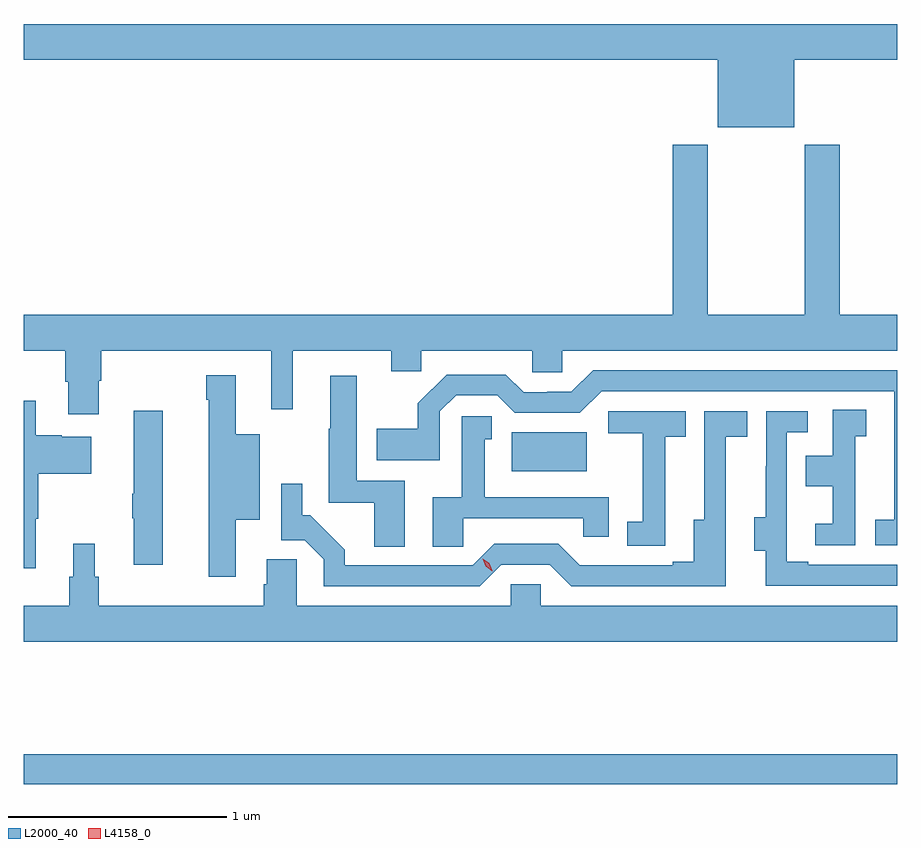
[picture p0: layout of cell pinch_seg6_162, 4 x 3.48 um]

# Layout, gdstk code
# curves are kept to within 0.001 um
import gdstk
lib = gdstk.Library(unit=1e-6, precision=1e-09)
def R(c, l, rs):  # rectangles x0, y0, x1, y1
    for r in rs: c.add(gdstk.rectangle(r[:2], r[2:], *l))
def P(c, l, *ps):  # polygons
    for p in ps: c.add(gdstk.Polygon(p, *l))
L2000_40 = (2000, 40)
L4158_0 = (4158, 0)

pinch_seg6_162 = lib.new_cell('pinch_seg6_162')
R(pinch_seg6_162, L2000_40, [(1071.273,952.012,1075.273,952.148), (1073.507,953.444,1073.851,953.623)])
P(pinch_seg6_162, L2000_40, [(1074.802,955.328),(1075.273,955.328),(1075.273,955.492),(1071.273,955.492),(1071.273,955.328),(1074.452,955.328),(1074.452,955.019),(1074.802,955.019)],
  [(1071.273,953.996),(1071.464,953.996),(1071.464,953.854),(1071.476,953.854),(1071.476,953.706),(1071.616,953.706),(1071.616,953.859),(1071.629,953.859),(1071.629,953.996),(1072.406,953.996),(1072.406,953.727),(1072.504,953.727),(1072.504,953.996),(1072.955,953.996),(1072.955,953.903),(1073.094,953.903),(1073.094,953.996),(1073.601,953.996),(1073.601,953.898),(1073.739,953.898),(1073.739,953.996),(1075.273,953.996),(1075.273,954.16),(1075.01,954.16),(1075.01,954.94),(1074.85,954.94),(1074.85,954.16),(1074.405,954.16),(1074.405,954.94),(1074.245,954.94),(1074.245,954.16),(1071.273,954.16)],
  [(1075.273,953.907),(1073.88,953.907),(1073.781,953.808),(1073.67,953.808),(1073.67,953.805),(1073.562,953.805),(1073.48,953.887),(1073.209,953.887),(1073.077,953.755),(1073.077,953.638),(1072.89,953.638),(1072.89,953.495),(1073.178,953.495),(1073.178,953.718),(1073.253,953.793),(1073.441,953.793),(1073.522,953.712),(1073.82,953.712),(1073.919,953.811),(1075.26,953.811),(1075.259,953.222),(1075.173,953.222),(1075.173,953.106),(1075.273,953.106)],
  [(1072.243,953.222),(1072.354,953.222),(1072.354,953.614),(1072.243,953.614),(1072.243,953.884),(1072.109,953.884),(1072.109,953.771),(1072.121,953.771),(1072.121,952.962),(1072.243,952.962)],
  [(1073.017,953.4),(1072.798,953.4),(1072.798,953.881),(1072.676,953.881),(1072.676,953.639),(1072.669,953.639),(1072.669,953.299),(1072.877,953.299),(1072.877,953.098),(1073.017,953.098)],
  [(1071.328,953.226),(1071.34,953.226),(1071.34,953.432),(1071.583,953.432),(1071.583,953.602),(1071.447,953.602),(1071.447,953.61),(1071.328,953.61),(1071.328,953.767),(1071.273,953.767),(1071.273,953),(1071.328,953)],
  [(1075.081,953.605),(1075.132,953.605),(1075.132,953.726),(1074.977,953.726),(1074.977,953.515),(1074.853,953.515),(1074.853,953.375),(1074.977,953.375),(1074.977,953.203),(1074.897,953.203),(1074.897,953.106),(1075.081,953.106)],
  [(1071.91,953.722),(1071.776,953.722),(1071.776,953.34),(1071.769,953.34),(1071.769,953.228),(1071.776,953.228),(1071.776,953.016),(1071.91,953.016)],
  [(1074.211,953.602),(1074.305,953.602),(1074.305,953.718),(1073.949,953.718),(1073.949,953.617),(1074.107,953.617),(1074.107,953.212),(1074.037,953.212),(1074.037,953.104),(1074.211,953.104)],
  [(1075.273,953.016),(1074.865,953.016),(1074.865,953.029),(1074.768,953.029),(1074.768,953.622),(1074.862,953.622),(1074.862,953.718),(1074.672,953.718),(1074.672,953.466),(1074.671,953.466),(1074.671,953.234),(1074.617,953.234),(1074.617,953.081),(1074.671,953.081),(1074.671,952.92),(1075.273,952.92)],
  [(1073.46,953.016),(1073.682,953.016),(1073.781,952.917),(1074.487,952.917),(1074.488,953.602),(1074.586,953.602),(1074.586,953.718),(1074.39,953.718),(1074.389,953.221),(1074.341,953.221),(1074.341,953.03),(1074.245,953.03),(1074.245,953.013),(1073.819,953.014),(1073.721,953.112),(1073.427,953.112),(1073.328,953.013),(1072.744,953.013),(1072.744,953.084),(1072.585,953.243),(1072.548,953.243),(1072.548,953.386),(1072.452,953.386),(1072.452,953.127),(1072.56,953.127),(1072.647,953.04),(1072.647,952.917),(1073.361,952.917)],
  [(1073.286,953.229),(1073.836,953.229),(1073.836,953.145),(1073.952,953.145),(1073.952,953.325),(1073.383,953.325),(1073.383,953.59),(1073.417,953.59),(1073.417,953.696),(1073.279,953.696),(1073.279,953.326),(1073.147,953.326),(1073.147,953.098),(1073.286,953.098)],
  [(1075.273,952.828),(1073.64,952.828),(1073.64,952.926),(1073.502,952.926),(1073.502,952.828),(1072.523,952.828),(1072.523,953.041),(1072.385,953.041),(1072.385,952.926),(1072.373,952.926),(1072.373,952.828),(1071.617,952.828),(1071.617,952.962),(1071.598,952.962),(1071.598,953.113),(1071.5,953.113),(1071.5,952.962),(1071.481,952.962),(1071.481,952.828),(1071.273,952.828),(1071.273,952.664),(1075.273,952.664)])
P(pinch_seg6_162, L4158_0, [(1073.418,952.987),(1073.388,953.009),(1073.374,953.043),(1073.374,953.043),(1073.374,953.043),(1073.404,953.022),(1073.418,952.988),(1073.418,952.987)])

lib.write_gds('pinch_seg6_162.gds')
